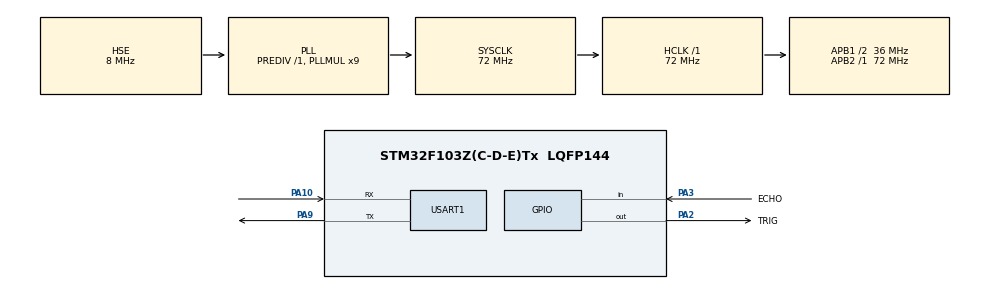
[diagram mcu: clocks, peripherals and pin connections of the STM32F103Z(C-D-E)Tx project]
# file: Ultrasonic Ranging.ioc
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Mcu.Family=STM32F1
Mcu.Name=STM32F103Z(C-D-E)Tx
Mcu.Package=LQFP144
NVIC.PriorityGroup=NVIC_PRIORITYGROUP_4
NVIC.TIM2_IRQn=true\:0\:0\:false\:false\:true\:true\:true
NVIC.USART1_IRQn=true\:0\:0\:false\:false\:true\:true\:true
OSC_IN.Mode=HSE-External-Oscillator
OSC_IN.Signal=RCC_OSC_IN
OSC_OUT.Mode=HSE-External-Oscillator
OSC_OUT.Signal=RCC_OSC_OUT
PA10.Mode=Asynchronous
PA10.Signal=USART1_RX
PA13.Mode=Serial_Wire
PA13.Signal=SYS_JTMS-SWDIO
PA14.Mode=Serial_Wire
PA14.Signal=SYS_JTCK-SWCLK
PA2.GPIO_Label=TRIG
PA2.Signal=GPIO_Output
PA3.GPIO_Label=ECHO
PA3.Signal=GPIO_Input
PA9.Mode=Asynchronous
PA9.Signal=USART1_TX
ProjectManager.HeapSize=0x200
ProjectManager.StackSize=0x400
ProjectManager.TargetToolchain=MDK-ARM V5
RCC.AHBFreq_Value=72000000
RCC.APB1CLKDivider=RCC_HCLK_DIV2
RCC.APB1Freq_Value=36000000
RCC.APB1TimFreq_Value=72000000
RCC.APB2Freq_Value=72000000
RCC.APB2TimFreq_Value=72000000
RCC.HCLKFreq_Value=72000000
RCC.PLLMUL=RCC_PLL_MUL9
RCC.PLLSourceVirtual=RCC_PLLSOURCE_HSE
RCC.SYSCLKFreq_VALUE=72000000
RCC.SYSCLKSource=RCC_SYSCLKSOURCE_PLLCLK
RCC.USBFreq_Value=72000000
TIM2.Prescaler=71
USART1.VirtualMode=VM_ASYNC
VP_TIM2_VS_ClockSourceINT.Mode=Internal
board=custom

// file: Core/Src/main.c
/* USER CODE BEGIN Header */
/**
  ******************************************************************************
  * @file           : main.c
  * @brief          : Main program body
  ******************************************************************************
  * @attention
  *
  * <h2><center>&copy; Copyright (c) 2021 STMicroelectronics.
  * All rights reserved.</center></h2>
  *
  * This software component is licensed by ST under BSD 3-Clause license,
  * the "License"; You may not use this file except in compliance with the
  * License. You may obtain a copy of the License at:
  *                        opensource.org/licenses/BSD-3-Clause
  *
  ******************************************************************************
  */
/* USER CODE END Header */
#include "main.h"
#include "tim.h"
#include "usart.h"
#include "gpio.h"

/* USER CODE BEGIN Includes */
#include <stdio.h>
/* USER CODE END Includes */

/* USER CODE BEGIN PD */
#define TRIG_ON HAL_GPIO_WritePin(TRIG_GPIO_Port, TRIG_Pin, GPIO_PIN_SET)
#define TRIG_OFF HAL_GPIO_WritePin(TRIG_GPIO_Port, TRIG_Pin, GPIO_PIN_RESET)
#define ECHO_READ HAL_GPIO_ReadPin(ECHO_GPIO_Port, ECHO_Pin)
/* USER CODE END PD */

/* USER CODE BEGIN PV */
float t1, t2, distance;
/* USER CODE END PV */

void SystemClock_Config(void);

int main(void)
{

  /* MCU Configuration--------------------------------------------------------*/

  /* Reset of all peripherals, Initializes the Flash interface and the Systick. */
  HAL_Init();

  /* Configure the system clock */
  SystemClock_Config();

  /* Initialize all configured peripherals */
  MX_GPIO_Init();
  MX_TIM2_Init();
  MX_USART1_UART_Init();
  /* USER CODE BEGIN 2 */
	HAL_TIM_Base_Start_IT(&htim2);
  /* USER CODE END 2 */

  /* Infinite loop */
  /* USER CODE BEGIN WHILE */
  while (1)
  {
		htim2.Instance -> CNT = 0;
		TRIG_OFF;
		TRIG_ON;
		HAL_Delay(1);
		TRIG_OFF;
		while(ECHO_READ == 0);
		t1 = htim2.Instance -> CNT;
		while(ECHO_READ == 1);
		t2 = htim2.Instance -> CNT;
		distance = (t2 - t1) * 17 / 1000;
		printf("Distance: %0.1fcm\r\n", distance);
		HAL_Delay(200);
    /* USER CODE END WHILE */

  }
}

void SystemClock_Config(void)
{
  RCC_OscInitTypeDef RCC_OscInitStruct = {0};
  RCC_ClkInitTypeDef RCC_ClkInitStruct = {0};

  /** Initializes the RCC Oscillators according to the specified parameters
  * in the RCC_OscInitTypeDef structure.
  */
  RCC_OscInitStruct.OscillatorType = RCC_OSCILLATORTYPE_HSE;
  RCC_OscInitStruct.HSEState = RCC_HSE_ON;
  RCC_OscInitStruct.HSEPredivValue = RCC_HSE_PREDIV_DIV1;
  RCC_OscInitStruct.HSIState = RCC_HSI_ON;
  RCC_OscInitStruct.PLL.PLLState = RCC_PLL_ON;
  RCC_OscInitStruct.PLL.PLLSource = RCC_PLLSOURCE_HSE;
  RCC_OscInitStruct.PLL.PLLMUL = RCC_PLL_MUL9;
  if (HAL_RCC_OscConfig(&RCC_OscInitStruct) != HAL_OK)
  {
    Error_Handler();
  }
  /** Initializes the CPU, AHB and APB buses clocks
  */
  RCC_ClkInitStruct.ClockType = RCC_CLOCKTYPE_HCLK|RCC_CLOCKTYPE_SYSCLK
                              |RCC_CLOCKTYPE_PCLK1|RCC_CLOCKTYPE_PCLK2;
  RCC_ClkInitStruct.SYSCLKSource = RCC_SYSCLKSOURCE_PLLCLK;
  RCC_ClkInitStruct.AHBCLKDivider = RCC_SYSCLK_DIV1;
  RCC_ClkInitStruct.APB1CLKDivider = RCC_HCLK_DIV2;
  RCC_ClkInitStruct.APB2CLKDivider = RCC_HCLK_DIV1;

  if (HAL_RCC_ClockConfig(&RCC_ClkInitStruct, FLASH_LATENCY_2) != HAL_OK)
  {
    Error_Handler();
  }
}

void Error_Handler(void)
{
  __disable_irq();
  while (1)
  {
  }
}

/************************ (C) COPYRIGHT STMicroelectronics *****END OF FILE****/
